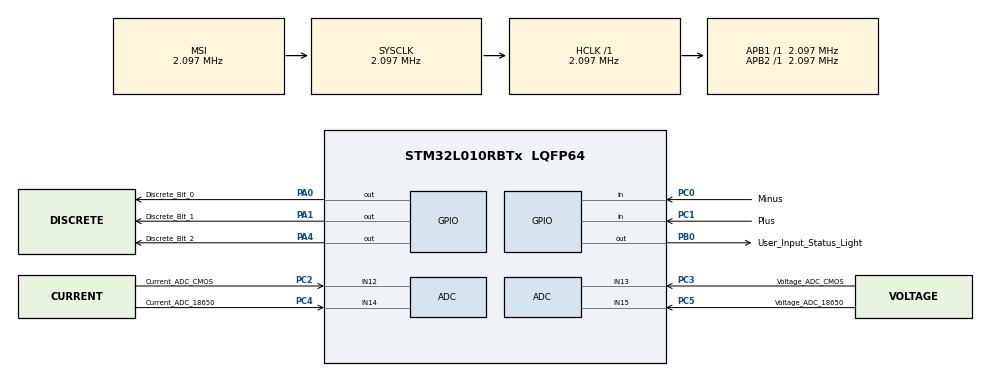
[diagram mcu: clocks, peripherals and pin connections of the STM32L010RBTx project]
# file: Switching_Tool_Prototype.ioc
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ADC.ClockPrescaler=ADC_CLOCK_SYNC_PCLK_DIV4
Mcu.Family=STM32L0
Mcu.Name=STM32L010RBTx
Mcu.Package=LQFP64
PA0.GPIO_Label=Discrete_Bit_0
PA0.Signal=GPIO_Output
PA1.GPIO_Label=Discrete_Bit_1
PA1.Signal=GPIO_Output
PA4.GPIO_Label=Discrete_Bit_2
PA4.Signal=GPIO_Output
PB0.GPIO_Label=User_Input_Status_Light
PB0.Signal=GPIO_Output
PC0.GPIO_Label=Minus
PC0.Signal=GPIO_Input
PC1.GPIO_Label=Plus
PC1.Signal=GPIO_Input
PC2.GPIO_Label=Current_ADC_CMOS
PC2.Mode=IN12
PC2.Signal=ADC_IN12
PC3.GPIO_Label=Voltage_ADC_CMOS
PC3.Mode=IN13
PC3.Signal=ADC_IN13
PC4.GPIO_Label=Current_ADC_18650
PC4.Mode=IN14
PC4.Signal=ADC_IN14
PC5.GPIO_Label=Voltage_ADC_18650
PC5.Mode=IN15
PC5.Signal=ADC_IN15
ProjectManager.HeapSize=0x200
ProjectManager.StackSize=0x400
ProjectManager.TargetToolchain=STM32CubeIDE
RCC.AHBFreq_Value=2097000
RCC.APB1Freq_Value=2097000
RCC.APB1TimFreq_Value=2097000
RCC.APB2Freq_Value=2097000
RCC.APB2TimFreq_Value=2097000
RCC.HSE_VALUE=8000000
RCC.HSI16_VALUE=16000000
RCC.HSI_VALUE=16000000
RCC.LSE_VALUE=32768
RCC.MSI_VALUE=2097000
RCC.SYSCLKFreq_VALUE=2097000
RCC.VCOOutputFreq_Value=48000000
board=custom

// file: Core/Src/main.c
/* USER CODE BEGIN Header */
/**
  ******************************************************************************
  * @file           : main.c
  * @brief          : Main program body
  ******************************************************************************
  * @attention
  *
  * Copyright (c) 2023 STMicroelectronics.
  * All rights reserved.
  *
  * This software is licensed under terms that can be found in the LICENSE file
  * in the root directory of this software component.
  * If no LICENSE file comes with this software, it is provided AS-IS.
  *
  ******************************************************************************
  */
/* USER CODE END Header */
#include "main.h"

/* USER CODE BEGIN Includes */
#include <stdio.h>
#include <string.h>
#include <stdbool.h>
/* USER CODE END Includes */

ADC_HandleTypeDef hadc;

void SystemClock_Config(void);
static void MX_GPIO_Init(void);
static void MX_ADC_Init(void);
/* USER CODE BEGIN PFP */
void Measurement_of_ADC_Voltage_18650();
void Measurement_of_ADC_Voltage_CMOS();
void Measurement_of_ADC_Current_CMOS();
void Measurement_of_ADC_Current_18650();
void Continuous_Same_State_Average();
void process_SD_card(void);
void ADC_Select_Voltage18650(void);
void ADC_Select_VoltageCMOS(void);
void ADC_Select_Current18650(void);
void ADC_Select_CurrentCMOS(void);
void setNumber();

float V_18650 = 0.0f;
float V_CMOS = 0.0f;
float V_50gain= 0.0f;
float V_25gain = 0.0f;
float C_CMOS = 0.0f;
float C_18650 = 0.0f;
int i,j;
unsigned int Switch_State = 0;
float seconds_since_start = 0.0f;
uint32_t start_time_ms = 0;
static uint32_t lastDebounceTime = 0;
const uint32_t debounceDelay = 50;  // milliseconds
const uint32_t flashingDuration = 1500; // 5 seconds
uint32_t flashingStartTime = 0;
float valueToAdjust = 0; // Integer value to be adjusted
uint8_t lastPlusState = GPIO_PIN_RESET;
uint8_t lastMinusState = GPIO_PIN_RESET;
/* USER CODE END PFP */

int main(void)
{

  /* MCU Configuration--------------------------------------------------------*/

  /* Reset of all peripherals, Initializes the Flash interface and the Systick. */
  HAL_Init();

  /* Configure the system clock */
  SystemClock_Config();

  /* Initialize all configured peripherals */
  MX_GPIO_Init();
  MX_ADC_Init();
  /* USER CODE BEGIN 2 */
  start_time_ms = HAL_GetTick();
  /* USER CODE END 2 */

  /* Infinite loop */
  /* USER CODE BEGIN WHILE */
  while (1)
  {
	  uint8_t currentPlusState = HAL_GPIO_ReadPin(GPIOC, Plus_Pin);
	  	      uint8_t currentMinusState = HAL_GPIO_ReadPin(GPIOC, Minus_Pin);

	  	      if (currentPlusState == GPIO_PIN_SET || currentMinusState == GPIO_PIN_SET) {
	  	    	  //set to high state
	  	          if ((HAL_GetTick() - lastDebounceTime) > debounceDelay) {
	  	              // Only update the value if the state has changed
	  	              if ((currentPlusState == GPIO_PIN_SET && lastPlusState != GPIO_PIN_SET) ||
	  	                  (currentMinusState == GPIO_PIN_SET && lastMinusState != GPIO_PIN_SET)) {
	  	                  if (currentPlusState == GPIO_PIN_SET) {
	  	                      valueToAdjust++;
	  	                  } else if (currentMinusState == GPIO_PIN_SET) {
	  	                      valueToAdjust--;
	  	                  }
	  	              }

	  	              flashingStartTime = HAL_GetTick();
	  	              while ((HAL_GetTick() - flashingStartTime) < flashingDuration) {
	  	                  // Save the last state before reading the current state
	  	                  lastPlusState = currentPlusState;
	  	                  lastMinusState = currentMinusState;

	  	                  currentPlusState = HAL_GPIO_ReadPin(GPIOC, Plus_Pin);
	  	                  currentMinusState = HAL_GPIO_ReadPin(GPIOC, Minus_Pin);

	  	                  // Check for subsequent button presses to restart the timer
	  	                  if (currentPlusState == GPIO_PIN_SET || currentMinusState == GPIO_PIN_SET) {
	  	                      flashingStartTime = HAL_GetTick(); // Restart the 5-second interval

	  	                      // Only update the value if the state has changed
	  	                      if ((currentPlusState == GPIO_PIN_SET && lastPlusState != GPIO_PIN_SET) ||
	  	                          (currentMinusState == GPIO_PIN_SET && lastMinusState != GPIO_PIN_SET)) {
	  	                          if (currentPlusState == GPIO_PIN_SET) {
	  	                              valueToAdjust++;
	  	                          } else if (currentMinusState == GPIO_PIN_SET) {
	  	                              valueToAdjust--;
	  	                          }
	  	                      }
	  	                  }

	  	                  HAL_GPIO_TogglePin(User_Input_Status_Light_GPIO_Port, User_Input_Status_Light_Pin);
	  	                  HAL_Delay(100);
	  	              }

	  	              HAL_GPIO_WritePin(User_Input_Status_Light_GPIO_Port, User_Input_Status_Light_Pin, GPIO_PIN_RESET);
	  	              lastDebounceTime = HAL_GetTick();
	  	          }
	  	      }

	  	      // Save the last state at the end of the loop
	  	      lastPlusState = currentPlusState;
	  	      lastMinusState = currentMinusState;

	  	      setNumber();
	  	      HAL_Delay(25);

	  	  if (valueToAdjust == 2)
	  	  		    		{
	  	  		    			HAL_GPIO_WritePin(User_Input_Status_Light_GPIO_Port, User_Input_Status_Light_Pin, GPIO_PIN_SET);

	  	  		    		}
    /* USER CODE END WHILE */

  }
}

void SystemClock_Config(void)
{
  RCC_OscInitTypeDef RCC_OscInitStruct = {0};
  RCC_ClkInitTypeDef RCC_ClkInitStruct = {0};

  /** Configure the main internal regulator output voltage
  */
  __HAL_PWR_VOLTAGESCALING_CONFIG(PWR_REGULATOR_VOLTAGE_SCALE1);

  /** Initializes the RCC Oscillators according to the specified parameters
  * in the RCC_OscInitTypeDef structure.
  */
  RCC_OscInitStruct.OscillatorType = RCC_OSCILLATORTYPE_MSI;
  RCC_OscInitStruct.MSIState = RCC_MSI_ON;
  RCC_OscInitStruct.MSICalibrationValue = 0;
  RCC_OscInitStruct.MSIClockRange = RCC_MSIRANGE_5;
  RCC_OscInitStruct.PLL.PLLState = RCC_PLL_NONE;
  if (HAL_RCC_OscConfig(&RCC_OscInitStruct) != HAL_OK)
  {
    Error_Handler();
  }

  /** Initializes the CPU, AHB and APB buses clocks
  */
  RCC_ClkInitStruct.ClockType = RCC_CLOCKTYPE_HCLK|RCC_CLOCKTYPE_SYSCLK
                              |RCC_CLOCKTYPE_PCLK1|RCC_CLOCKTYPE_PCLK2;
  RCC_ClkInitStruct.SYSCLKSource = RCC_SYSCLKSOURCE_MSI;
  RCC_ClkInitStruct.AHBCLKDivider = RCC_SYSCLK_DIV1;
  RCC_ClkInitStruct.APB1CLKDivider = RCC_HCLK_DIV1;
  RCC_ClkInitStruct.APB2CLKDivider = RCC_HCLK_DIV1;

  if (HAL_RCC_ClockConfig(&RCC_ClkInitStruct, FLASH_LATENCY_0) != HAL_OK)
  {
    Error_Handler();
  }
}

static void MX_ADC_Init(void)
{

  ADC_ChannelConfTypeDef sConfig = {0};

  /** Configure the global features of the ADC (Clock, Resolution, Data Alignment and number of conversion)
  */
  hadc.Instance = ADC1;
  hadc.Init.OversamplingMode = DISABLE;
  hadc.Init.ClockPrescaler = ADC_CLOCK_SYNC_PCLK_DIV4;
  hadc.Init.Resolution = ADC_RESOLUTION_12B;
  hadc.Init.SamplingTime = ADC_SAMPLETIME_1CYCLE_5;
  hadc.Init.ScanConvMode = ADC_SCAN_DIRECTION_FORWARD;
  hadc.Init.DataAlign = ADC_DATAALIGN_RIGHT;
  hadc.Init.ContinuousConvMode = DISABLE;
  hadc.Init.DiscontinuousConvMode = DISABLE;
  hadc.Init.ExternalTrigConvEdge = ADC_EXTERNALTRIGCONVEDGE_NONE;
  hadc.Init.ExternalTrigConv = ADC_SOFTWARE_START;
  hadc.Init.DMAContinuousRequests = DISABLE;
  hadc.Init.EOCSelection = ADC_EOC_SINGLE_CONV;
  hadc.Init.Overrun = ADC_OVR_DATA_PRESERVED;
  hadc.Init.LowPowerAutoWait = DISABLE;
  hadc.Init.LowPowerFrequencyMode = ENABLE;
  hadc.Init.LowPowerAutoPowerOff = DISABLE;
  if (HAL_ADC_Init(&hadc) != HAL_OK)
  {
    Error_Handler();
  }

  /** Configure for the selected ADC regular channel to be converted.
  */
  sConfig.Channel = ADC_CHANNEL_12;
  sConfig.Rank = ADC_RANK_CHANNEL_NUMBER;
  if (HAL_ADC_ConfigChannel(&hadc, &sConfig) != HAL_OK)
  {
    Error_Handler();
  }

  /** Configure for the selected ADC regular channel to be converted.
  */
  sConfig.Channel = ADC_CHANNEL_13;
  if (HAL_ADC_ConfigChannel(&hadc, &sConfig) != HAL_OK)
  {
    Error_Handler();
  }

  /** Configure for the selected ADC regular channel to be converted.
  */
  sConfig.Channel = ADC_CHANNEL_14;
  if (HAL_ADC_ConfigChannel(&hadc, &sConfig) != HAL_OK)
  {
    Error_Handler();
  }

  /** Configure for the selected ADC regular channel to be converted.
  */
  sConfig.Channel = ADC_CHANNEL_15;
  if (HAL_ADC_ConfigChannel(&hadc, &sConfig) != HAL_OK)
  {
    Error_Handler();
  }

}

static void MX_GPIO_Init(void)
{
  GPIO_InitTypeDef GPIO_InitStruct = {0};

  /* GPIO Ports Clock Enable */
  __HAL_RCC_GPIOC_CLK_ENABLE();
  __HAL_RCC_GPIOA_CLK_ENABLE();
  __HAL_RCC_GPIOB_CLK_ENABLE();

  /*Configure GPIO pin Output Level */
  HAL_GPIO_WritePin(GPIOA, Discrete_Bit_0_Pin|Discrete_Bit_1_Pin|Discrete_Bit_2_Pin, GPIO_PIN_RESET);

  /*Configure GPIO pin Output Level */
  HAL_GPIO_WritePin(User_Input_Status_Light_GPIO_Port, User_Input_Status_Light_Pin, GPIO_PIN_RESET);

  /*Configure GPIO pins : Minus_Pin Plus_Pin */
  GPIO_InitStruct.Pin = Minus_Pin|Plus_Pin;
  GPIO_InitStruct.Mode = GPIO_MODE_INPUT;
  GPIO_InitStruct.Pull = GPIO_NOPULL;
  HAL_GPIO_Init(GPIOC, &GPIO_InitStruct);

  /*Configure GPIO pins : Discrete_Bit_0_Pin Discrete_Bit_1_Pin Discrete_Bit_2_Pin */
  GPIO_InitStruct.Pin = Discrete_Bit_0_Pin|Discrete_Bit_1_Pin|Discrete_Bit_2_Pin;
  GPIO_InitStruct.Mode = GPIO_MODE_OUTPUT_PP;
  GPIO_InitStruct.Pull = GPIO_NOPULL;
  GPIO_InitStruct.Speed = GPIO_SPEED_FREQ_LOW;
  HAL_GPIO_Init(GPIOA, &GPIO_InitStruct);

  /*Configure GPIO pin : User_Input_Status_Light_Pin */
  GPIO_InitStruct.Pin = User_Input_Status_Light_Pin;
  GPIO_InitStruct.Mode = GPIO_MODE_OUTPUT_PP;
  GPIO_InitStruct.Pull = GPIO_NOPULL;
  GPIO_InitStruct.Speed = GPIO_SPEED_FREQ_LOW;
  HAL_GPIO_Init(User_Input_Status_Light_GPIO_Port, &GPIO_InitStruct);

}

/* USER CODE BEGIN 4 */
#ifdef __GNUC__
  /* With GCC, small printf (option LD Linker->Libraries->Small printf
     set to 'Yes') calls __io_putchar() */
int __io_putchar(int ch)
#else
int fputc(int ch, FILE *f)
#endif /* __GNUC__ */
{
  /* Place your implementation of fputc here */
  /* e.g. write a character to the UART3 and Loop until the end of transmission */
  //HAL_UART_Transmit(&huart2, (uint8_t *)&ch, 1, HAL_MAX_DELAY);
  return ch;
}

void Measurement_of_ADC_Voltage_18650(){
	float V_ref = 3.3;  // This is known for each micro controller from data
		// sheet, V_ref = power supply in
		float ADC_resolution = (4096 - 1);  // 2^12 - 1
		float V_stepSize = V_ref / ADC_resolution;
		// ADC
	    /* Start ADC Conversion for ADC1 */
	    ADC_Select_Voltage18650();
	    HAL_ADC_Start(&hadc);
	    uint16_t rawValue1;
	       if (HAL_ADC_PollForConversion(&hadc, HAL_MAX_DELAY) == HAL_OK) {
	           /* Read the ADC1 value */
	           rawValue1 = HAL_ADC_GetValue(&hadc);
	           V_18650 = rawValue1 * V_stepSize;
	       }
	    HAL_ADC_Stop(&hadc);
}
void Measurement_of_ADC_Voltage_CMOS(){
	float V_ref = 3.3;  // This is known for each micro controller from data
		// sheet, V_ref = power supply in
		float ADC_resolution = (4096 - 1);  // 2^12 - 1
		float V_stepSize = V_ref / ADC_resolution;
		// ADC
	    /* Start ADC Conversion for ADC1 */
	    ADC_Select_VoltageCMOS();
	    HAL_ADC_Start(&hadc);
	    uint16_t rawValue1;
	       if (HAL_ADC_PollForConversion(&hadc, HAL_MAX_DELAY) == HAL_OK) {
	           /* Read the ADC1 value */
	           rawValue1 = HAL_ADC_GetValue(&hadc);
	           V_CMOS = rawValue1 * V_stepSize;
	       }
	    HAL_ADC_Stop(&hadc);
}

void Measurement_of_ADC_Current_18650(){
	float V_ref = 3.3;  // This is known for each micro controller from data
		// sheet, V_ref = power supply in
		float ADC_resolution = (4096 - 1);  // 2^12 - 1
		float V_stepSize = V_ref / ADC_resolution;
		// ADC
	    /* Start ADC Conversion for ADC1 */
	    ADC_Select_Voltage18650();
	    HAL_ADC_Start(&hadc);
	    uint16_t rawValue1;
	       if (HAL_ADC_PollForConversion(&hadc, HAL_MAX_DELAY) == HAL_OK) {
	           /* Read the ADC1 value */
	           rawValue1 = HAL_ADC_GetValue(&hadc);
	           C_18650 = (((rawValue1 * V_stepSize)/50)/.0299562); //I_load = ((V_ADC / 50 gain) / .03 calibrated shunt)
	       }
	    HAL_ADC_Stop(&hadc);
}

void Measurement_of_ADC_Current_CMOS(){
	float V_ref = 3.3;  // This is known for each micro controller from data
		// sheet, V_ref = power supply in
		float ADC_resolution = (4096 - 1);  // 2^12 - 1
		float V_stepSize = V_ref / ADC_resolution;
		// ADC
	    /* Start ADC Conversion for ADC1 */
	    ADC_Select_Voltage18650();
	    HAL_ADC_Start(&hadc);
	    uint16_t rawValue1;
	       if (HAL_ADC_PollForConversion(&hadc, HAL_MAX_DELAY) == HAL_OK) {
	           /* Read the ADC1 value */
	           rawValue1 = HAL_ADC_GetValue(&hadc);
	           C_CMOS = (((rawValue1 * V_stepSize)/20)/4.713492); // I_load = (( V_ADC / 20 Gain ) / 4.71 calibrated shunt )
	       }
	    HAL_ADC_Stop(&hadc);
}

void ADC_Select_Voltage18650(void){
ADC_ChannelConfTypeDef sConfig = {0};
sConfig.Channel = ADC_CHANNEL_15;
sConfig.Rank = ADC_RANK_CHANNEL_NUMBER;
if (HAL_ADC_ConfigChannel(&hadc, &sConfig) != HAL_OK)
{
  Error_Handler();
}
}

void ADC_Select_VoltageCMOS(void){
ADC_ChannelConfTypeDef sConfig = {0};
sConfig.Channel = ADC_CHANNEL_13;
sConfig.Rank = ADC_RANK_CHANNEL_NUMBER;
if (HAL_ADC_ConfigChannel(&hadc, &sConfig) != HAL_OK)
{
Error_Handler();
}

}

void ADC_Select_Current18650(void){
ADC_ChannelConfTypeDef sConfig = {0};
sConfig.Channel = ADC_CHANNEL_14;
sConfig.Rank = ADC_RANK_CHANNEL_NUMBER;
if (HAL_ADC_ConfigChannel(&hadc, &sConfig) != HAL_OK)
{
	    Error_Handler();
}
}

void ADC_Select_CurrentCMOS(void){
ADC_ChannelConfTypeDef sConfig = {0};
sConfig.Channel = ADC_CHANNEL_12;
sConfig.Rank = ADC_RANK_CHANNEL_NUMBER;
if (HAL_ADC_ConfigChannel(&hadc, &sConfig) != HAL_OK)
{
Error_Handler();
}

}

void setNumber() {

		    // Check each value and set the pins accordingly
		    if (valueToAdjust == 1) {
		    	//value 1 = 001
		        HAL_GPIO_WritePin(GPIOA, Discrete_Bit_0_Pin, GPIO_PIN_SET);
		        HAL_GPIO_WritePin(GPIOA, Discrete_Bit_1_Pin, GPIO_PIN_RESET);
		        HAL_GPIO_WritePin(GPIOA, Discrete_Bit_2_Pin, GPIO_PIN_RESET);
		    } else if (valueToAdjust == 2) {
		    	//value 2 = 010
		        HAL_GPIO_WritePin(GPIOA, Discrete_Bit_0_Pin, GPIO_PIN_RESET);
		        HAL_GPIO_WritePin(GPIOA, Discrete_Bit_1_Pin, GPIO_PIN_SET);
		        HAL_GPIO_WritePin(GPIOA, Discrete_Bit_2_Pin, GPIO_PIN_RESET);
		    } else if (valueToAdjust == 3) {
		    	//value 3 = 011
		        HAL_GPIO_WritePin(GPIOA, Discrete_Bit_0_Pin, GPIO_PIN_SET);
		        HAL_GPIO_WritePin(GPIOA, Discrete_Bit_1_Pin, GPIO_PIN_SET);
		        HAL_GPIO_WritePin(GPIOA, Discrete_Bit_2_Pin, GPIO_PIN_RESET);
		    } else if (valueToAdjust == 4) {
		    	//value 4 = 100
		        HAL_GPIO_WritePin(GPIOA, Discrete_Bit_0_Pin, GPIO_PIN_RESET);
		        HAL_GPIO_WritePin(GPIOA, Discrete_Bit_1_Pin, GPIO_PIN_RESET);
		        HAL_GPIO_WritePin(GPIOA, Discrete_Bit_2_Pin, GPIO_PIN_SET);
		    } else if (valueToAdjust == 5) {
		    	//value 5 = 101
		        HAL_GPIO_WritePin(GPIOA, Discrete_Bit_0_Pin, GPIO_PIN_SET);
		        HAL_GPIO_WritePin(GPIOA, Discrete_Bit_1_Pin, GPIO_PIN_RESET);
		        HAL_GPIO_WritePin(GPIOA, Discrete_Bit_2_Pin, GPIO_PIN_SET);

		    } else if (valueToAdjust == 6) {
		    	//value 6 = 110
		    	HAL_GPIO_WritePin(GPIOA, Discrete_Bit_0_Pin, GPIO_PIN_RESET);
		        HAL_GPIO_WritePin(GPIOA, Discrete_Bit_1_Pin, GPIO_PIN_SET);
		        HAL_GPIO_WritePin(GPIOA, Discrete_Bit_2_Pin, GPIO_PIN_SET);

		    } else if (valueToAdjust == 7) {
		    	//value 7 = 111
		        HAL_GPIO_WritePin(GPIOA, Discrete_Bit_0_Pin, GPIO_PIN_SET);
		        HAL_GPIO_WritePin(GPIOA, Discrete_Bit_1_Pin, GPIO_PIN_SET);
		        HAL_GPIO_WritePin(GPIOA, Discrete_Bit_2_Pin, GPIO_PIN_SET);

		    }
		    /*may need to implement state for numbers entered over 7 and numbers
		    under zero */
		    //testing
		}

/* USER CODE END 4 */

void Error_Handler(void)
{
  __disable_irq();
  while (1)
  {
  }
}
